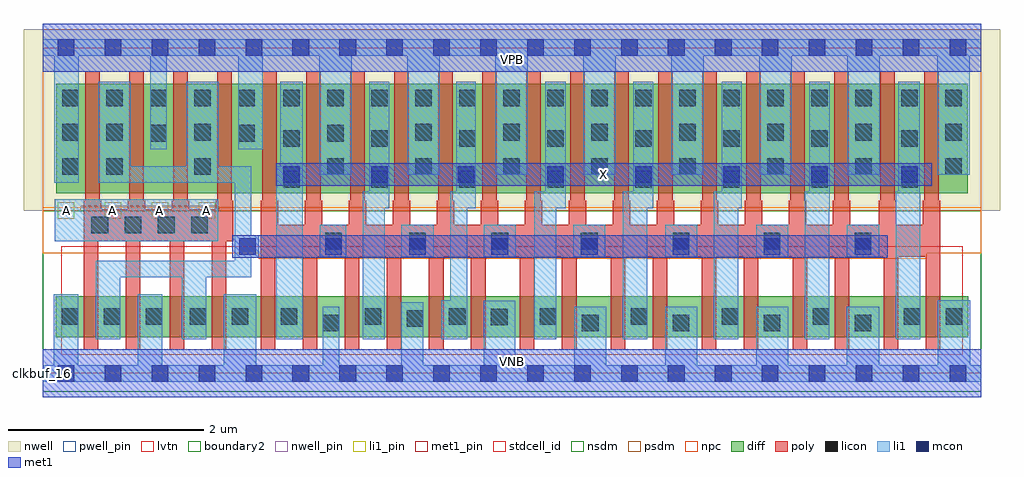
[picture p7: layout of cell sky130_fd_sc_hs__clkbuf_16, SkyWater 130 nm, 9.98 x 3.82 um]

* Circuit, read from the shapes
.subckt sky130_fd_sc_hs__clkbuf_16 A VGND VNB VPB VPWR X
XM1 n1 A VGND VNB sky130_fd_pr__nfet_01v8_lvt w=0.42 l=0.15 m=4
XM2 X n1 VGND VNB sky130_fd_pr__nfet_01v8_lvt w=0.42 l=0.15 m=16
XM3 n1 A VPWR VPB sky130_fd_pr__pfet_01v8 w=1.12 l=0.15 m=4
XM4 X n1 VPWR VPB sky130_fd_pr__pfet_01v8 w=1.12 l=0.15 m=16
.ends

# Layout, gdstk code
import gdstk
lib = gdstk.Library(unit=1e-6, precision=1e-09)
def R(c, l, rs):  # rectangles x0, y0, x1, y1
    for r in rs: c.add(gdstk.rectangle(r[:2], r[2:], *l))
def A(c, l, x, y, w, h, nx, ny, dx, dy):  # array of equal rectangles
    R(c, l, [(x+i*dx, y+j*dy, x+i*dx+w, y+j*dy+h) for i in range(nx) for j in range(ny)])
def P(c, l, *ps):  # polygons
    for p in ps: c.add(gdstk.Polygon(p, *l))
nwell_pin = (64, 16)
nwell = (64, 20)
diff = (65, 20)
poly = (66, 20)
licon = (66, 44)
li1_pin = (67, 16)
li1 = (67, 20)
mcon = (67, 44)
met1_pin = (68, 16)
met1 = (68, 20)
stdcell_id = (81, 4)
nsdm = (93, 44)
psdm = (94, 20)
npc = (95, 20)
pwell_pin = (122, 16)
lvtn = (125, 44)
boundary2 = (236, 0)

sky130_fd_sc_hs__clkbuf_ = lib.new_cell('sky130_fd_sc_hs__clkbuf_16')
R(sky130_fd_sc_hs__clkbuf_, nwell_pin, [(0,3.085,9.6,3.33)])
R(sky130_fd_sc_hs__clkbuf_, nwell, [(-0.19,1.66,9.79,3.52)])
R(sky130_fd_sc_hs__clkbuf_, diff, [(0.135,0.37,9.465,0.79), (0.14,1.84,9.46,2.96)])
P(sky130_fd_sc_hs__clkbuf_, poly, [(9.18,1.765),(9.165,1.765),(9.165,3.09),(9.015,3.09),(9.015,1.765),(9,1.765),(9,1.52),(8.73,1.52),(8.73,1.765),(8.715,1.765),(8.715,3.09),(8.565,3.09),(8.565,1.765),(8.55,1.765),(8.55,1.52),(8.26,1.52),(8.26,1.765),(8.245,1.765),(8.245,3.09),(8.095,3.09),(8.095,1.765),(8.08,1.765),(8.08,1.52),(7.81,1.52),(7.81,1.765),(7.795,1.765),(7.795,3.09),(7.645,3.09),(7.645,1.765),(7.63,1.765),(7.63,1.52),(7.36,1.52),(7.36,1.765),(7.345,1.765),(7.345,3.09),(7.195,3.09),(7.195,1.765),(7.18,1.765),(7.18,1.52),(6.91,1.52),(6.91,1.765),(6.895,1.765),(6.895,3.09),(6.745,3.09),(6.745,1.765),(6.73,1.765),(6.73,1.52),(6.46,1.52),(6.46,1.765),(6.445,1.765),(6.445,3.09),(6.295,3.09),(6.295,1.765),(6.28,1.765),(6.28,1.52),(6.01,1.52),(6.01,1.765),(5.995,1.765),(5.995,3.09),(5.845,3.09),(5.845,1.765),(5.83,1.765),(5.83,1.52),(5.56,1.52),(5.56,1.765),(5.545,1.765),(5.545,3.09),(5.395,3.09),(5.395,1.765),(5.38,1.765),(5.38,1.52),(5.11,1.52),(5.11,1.765),(5.095,1.765),(5.095,3.09),(4.945,3.09),(4.945,1.765),(4.93,1.765),(4.93,1.52),(4.66,1.52),(4.66,1.765),(4.645,1.765),(4.645,3.09),(4.495,3.09),(4.495,1.765),(4.48,1.765),(4.48,1.52),(4.21,1.52),(4.21,1.765),(4.195,1.765),(4.195,3.09),(4.045,3.09),(4.045,1.765),(4.03,1.765),(4.03,1.52),(3.76,1.52),(3.76,1.765),(3.745,1.765),(3.745,3.09),(3.595,3.09),(3.595,1.765),(3.58,1.765),(3.58,1.52),(3.31,1.52),(3.31,1.765),(3.295,1.765),(3.295,3.09),(3.145,3.09),(3.145,1.765),(3.13,1.765),(3.13,1.52),(2.86,1.52),(2.86,1.765),(2.845,1.765),(2.845,3.09),(2.695,3.09),(2.695,1.765),(2.68,1.765),(2.68,1.52),(2.41,1.52),(2.41,1.765),(2.395,1.765),(2.395,3.09),(2.245,3.09),(2.245,1.765),(2.23,1.765),(2.23,0.24),(2.38,0.24),(2.38,1.19),(2.66,1.19),(2.66,0.24),(2.81,0.24),(2.81,1.19),(3.09,1.19),(3.09,0.24),(3.24,0.24),(3.24,1.19),(3.52,1.19),(3.52,0.24),(3.67,0.24),(3.67,1.19),(3.95,1.19),(3.95,0.24),(4.1,0.24),(4.1,1.19),(4.38,1.19),(4.38,0.24),(4.53,0.24),(4.53,1.19),(4.88,1.19),(4.88,0.24),(5.03,0.24),(5.03,1.19),(5.31,1.19),(5.31,0.24),(5.46,0.24),(5.46,1.19),(5.81,1.19),(5.81,0.24),(5.96,0.24),(5.96,1.19),(6.24,1.19),(6.24,0.24),(6.39,0.24),(6.39,1.19),(6.74,1.19),(6.74,0.24),(6.89,0.24),(6.89,1.19),(7.17,1.19),(7.17,0.24),(7.32,0.24),(7.32,1.19),(7.67,1.19),(7.67,0.24),(7.82,0.24),(7.82,1.19),(8.1,1.19),(8.1,0.24),(8.25,0.24),(8.25,1.19),(8.6,1.19),(8.6,0.24),(8.75,0.24),(8.75,1.19),(9.03,1.19),(9.03,0.24),(9.18,0.24)],
  [(1.95,1.765),(1.935,1.765),(1.935,3.09),(1.785,3.09),(1.785,1.765),(1.77,1.765),(1.77,1.68),(1.5,1.68),(1.5,1.765),(1.485,1.765),(1.485,3.09),(1.335,3.09),(1.335,1.765),(1.32,1.765),(1.32,1.68),(1.05,1.68),(1.05,1.765),(1.035,1.765),(1.035,3.09),(0.885,3.09),(0.885,1.765),(0.87,1.765),(0.87,1.68),(0.6,1.68),(0.6,1.765),(0.585,1.765),(0.585,3.09),(0.435,3.09),(0.435,1.765),(0.42,1.765),(0.42,0.24),(0.57,0.24),(0.57,1.35),(0.85,1.35),(0.85,0.24),(1,0.24),(1,1.35),(1.3,1.35),(1.3,0.24),(1.45,0.24),(1.45,1.35),(1.73,1.35),(1.73,0.24),(1.88,0.24),(1.88,1.35),(1.95,1.35)])
A(sky130_fd_sc_hs__clkbuf_, licon, 5.515, 0.43, 0.17, 0.17, 4, 1, 0.93, 0)
A(sky130_fd_sc_hs__clkbuf_, licon, 0.195, 0.495, 0.17, 0.17, 3, 1, 0.43, 0)
A(sky130_fd_sc_hs__clkbuf_, licon, 2.435, 0.495, 0.17, 0.17, 3, 1, 0.86, 0)
A(sky130_fd_sc_hs__clkbuf_, licon, 5.085, 0.495, 0.17, 0.17, 5, 1, 0.93, 0)
A(sky130_fd_sc_hs__clkbuf_, licon, 6.445, 1.27, 0.17, 0.17, 3, 1, 0.93, 0)
A(sky130_fd_sc_hs__clkbuf_, licon, 0.5, 1.43, 0.17, 0.17, 4, 1, 0.34, 0)
A(sky130_fd_sc_hs__clkbuf_, licon, 2.46, 1.9, 0.17, 0.17, 7, 2, 0.9, 0.415)
A(sky130_fd_sc_hs__clkbuf_, licon, 8.78, 1.9, 0.17, 0.17, 1, 3, 0, 0.415)
A(sky130_fd_sc_hs__clkbuf_, licon, 2.91, 2.03, 0.17, 0.17, 7, 1, 0.9, 0)
A(sky130_fd_sc_hs__clkbuf_, licon, 9.23, 2.03, 0.17, 0.17, 1, 3, 0, 0.35)
A(sky130_fd_sc_hs__clkbuf_, licon, 3.81, 2.38, 0.17, 0.17, 6, 1, 0.9, 0)
A(sky130_fd_sc_hs__clkbuf_, licon, 0.2, 2.73, 0.17, 0.17, 5, 1, 0.45, 0)
A(sky130_fd_sc_hs__clkbuf_, licon, 2.46, 2.73, 0.17, 0.17, 14, 1, 0.45, 0)
R(sky130_fd_sc_hs__clkbuf_, licon, [(2.865,0.43,3.035,0.6), (3.725,0.475,3.895,0.645), (4.585,0.49,4.755,0.66), (1.505,0.495,1.675,0.665), (1.935,0.495,2.105,0.665), (9.235,0.495,9.405,0.665), (2.89,1.27,3.06,1.44), (3.75,1.27,3.92,1.44), (4.59,1.27,4.76,1.44), (5.505,1.27,5.675,1.44), (0.2,2.03,0.37,2.2), (0.65,2.03,0.82,2.2), (1.55,2.03,1.72,2.2), (1.1,2.37,1.27,2.54), (2,2.37,2.17,2.54), (2.91,2.37,3.08,2.54), (0.2,2.38,0.37,2.55), (0.65,2.38,0.82,2.55), (1.55,2.38,1.72,2.55)])
A(sky130_fd_sc_hs__clkbuf_, li1_pin, 0.155, 1.58, 0.17, 0.17, 4, 1, 0.48, 0)
A(sky130_fd_sc_hs__clkbuf_, li1, 6.365, 1.19, 0.33, 0.33, 3, 1, 0.93, 0)
R(sky130_fd_sc_hs__clkbuf_, li1, [(2.835,1.19,3.105,1.52), (3.67,1.19,4,1.52), (4.51,1.19,4.84,1.52), (5.425,1.19,5.755,1.52), (0.125,1.35,1.795,1.78)])
P(sky130_fd_sc_hs__clkbuf_, li1, [(3.545,2.98),(3.34,2.98),(3.34,1.86),(3.275,1.86),(3.275,0.35),(3.5,0.35),(3.5,1.69),(3.545,1.69)],
  [(4.43,2.98),(4.23,2.98),(4.23,1.86),(4.17,1.86),(4.17,0.745),(4.075,0.745),(4.075,0.35),(4.34,0.35),(4.34,1.69),(4.43,1.69)],
  [(5.35,2.98),(5.14,2.98),(5.14,1.86),(5.025,1.86),(5.025,0.35),(5.255,0.35),(5.255,1.69),(5.35,1.69)],
  [(6.245,2.98),(6.04,2.98),(6.04,1.86),(5.935,1.86),(5.935,0.35),(6.185,0.35),(6.185,1.69),(6.245,1.69)],
  [(7.15,2.98),(6.945,2.98),(6.945,1.86),(6.865,1.86),(6.865,0.35),(7.115,0.35),(7.115,1.69),(7.15,1.69)],
  [(2.21,1.41),(2.135,1.41),(2.135,2.12),(1.8,2.12),(1.8,2.98),(1.47,2.98),(1.47,2.12),(0.9,2.12),(0.9,2.98),(0.57,2.98),(0.57,1.95),(1.965,1.95),(1.965,1.15),(0.545,1.15),(0.545,0.35),(0.795,0.35),(0.795,0.98),(1.425,0.98),(1.425,0.35),(1.675,0.35),(1.675,0.98),(2.135,0.98),(2.135,1.18),(2.21,1.18)],
  [(2.66,2.98),(2.43,2.98),(2.43,2.12),(2.39,2.12),(2.39,0.35),(2.66,0.35)],
  [(9.6,3.415),(0,3.415),(0,3.245),(0.12,3.245),(0.12,1.95),(0.37,1.95),(0.37,3.245),(1.1,3.245),(1.1,2.29),(1.27,2.29),(1.27,3.245),(2,3.245),(2,2.29),(2.25,2.29),(2.25,3.245),(2.83,3.245),(2.83,2.03),(3.16,2.03),(3.16,3.245),(3.73,3.245),(3.73,2.03),(4.06,2.03),(4.06,3.245),(4.63,3.245),(4.63,2.03),(4.96,2.03),(4.96,3.245),(5.53,3.245),(5.53,2.03),(5.86,2.03),(5.86,3.245),(6.43,3.245),(6.43,2.03),(6.76,2.03),(6.76,3.245),(7.33,3.245),(7.33,2.03),(7.66,2.03),(7.66,3.245),(8.23,3.245),(8.23,2.03),(8.56,2.03),(8.56,3.245),(9.15,3.245),(9.15,2.03),(9.48,2.03),(9.48,3.245),(9.6,3.245)],
  [(8.975,1.83),(8.97,1.83),(8.97,2.98),(8.75,2.98),(8.75,1.86),(8.725,1.86),(8.725,0.35),(8.975,0.35)],
  [(9.6,0.085),(9.485,0.085),(9.485,0.745),(9.155,0.745),(9.155,0.085),(8.555,0.085),(8.555,0.68),(8.225,0.68),(8.225,0.085),(7.625,0.085),(7.625,0.68),(7.295,0.68),(7.295,0.085),(6.695,0.085),(6.695,0.68),(6.365,0.68),(6.365,0.085),(5.765,0.085),(5.765,0.68),(5.435,0.68),(5.435,0.085),(4.835,0.085),(4.835,0.74),(4.51,0.74),(4.51,0.085),(3.895,0.085),(3.895,0.725),(3.67,0.725),(3.67,0.085),(3.035,0.085),(3.035,0.68),(2.865,0.68),(2.865,0.085),(2.185,0.085),(2.185,0.81),(1.855,0.81),(1.855,0.085),(1.225,0.085),(1.225,0.81),(0.975,0.81),(0.975,0.085),(0.365,0.085),(0.365,0.81),(0.115,0.81),(0.115,0.085),(0,0.085),(0,-0.085),(9.6,-0.085)],
  [(8.045,1.69),(8.05,1.69),(8.05,2.98),(7.84,2.98),(7.84,1.86),(7.795,1.86),(7.795,0.35),(8.045,0.35)])
A(sky130_fd_sc_hs__clkbuf_, mcon, 0.155, -0.085, 0.17, 0.17, 20, 2, 0.48, 3.33)
A(sky130_fd_sc_hs__clkbuf_, mcon, 6.445, 1.21, 0.17, 0.17, 3, 1, 0.93, 0)
A(sky130_fd_sc_hs__clkbuf_, mcon, 5.16, 1.95, 0.17, 0.17, 4, 1, 0.9, 0)
R(sky130_fd_sc_hs__clkbuf_, mcon, [(2.01,1.21,2.18,1.38), (2.89,1.21,3.06,1.38), (3.75,1.21,3.92,1.38), (4.59,1.21,4.76,1.38), (5.505,1.21,5.675,1.38), (2.46,1.95,2.63,2.12), (3.36,1.95,3.53,2.12), (4.245,1.95,4.415,2.12), (8.78,1.95,8.95,2.12)])
R(sky130_fd_sc_hs__clkbuf_, met1_pin, [(0,0,9.6,0.245), (2.39,1.92,9.09,2.15), (0,3.085,9.6,3.33)])
R(sky130_fd_sc_hs__clkbuf_, met1, [(0,-0.245,9.6,0.245), (1.94,1.18,8.64,1.41), (2.39,1.92,9.09,2.15), (0,3.085,9.6,3.575)])
R(sky130_fd_sc_hs__clkbuf_, stdcell_id, [(0,0,9.6,3.33)])
R(sky130_fd_sc_hs__clkbuf_, nsdm, [(0,-0.19,9.6,1.66)])
P(sky130_fd_sc_hs__clkbuf_, psdm, [(9.6,3.52),(0,3.52),(0,1.66),(0.39,1.66),(0.39,1.71),(1.8,1.71),(1.8,1.66),(9.6,1.66)])
P(sky130_fd_sc_hs__clkbuf_, npc, [(9.6,1.7),(0,1.7),(0,1.23),(2.21,1.23),(2.21,1.17),(9.04,1.17),(9.04,1.23),(9.6,1.23)])
R(sky130_fd_sc_hs__clkbuf_, pwell_pin, [(0,0,9.6,0.245)])
R(sky130_fd_sc_hs__clkbuf_, lvtn, [(0.19,0.19,9.41,1.3)])
R(sky130_fd_sc_hs__clkbuf_, boundary2, [(0,0,9.6,3.33)])
sky130_fd_sc_hs__clkbuf_.add(gdstk.Label('clkbuf_16', (0,0), layer=83, texttype=44))
sky130_fd_sc_hs__clkbuf_.add(gdstk.Label('VNB', (4.8,0.123), layer=64, texttype=59))
sky130_fd_sc_hs__clkbuf_.add(gdstk.Label('VPB', (4.8,3.208), layer=64, texttype=5))
sky130_fd_sc_hs__clkbuf_.add(gdstk.Label('VPWR', (4.8,3.208), layer=68, texttype=5))
sky130_fd_sc_hs__clkbuf_.add(gdstk.Label('VGND', (4.8,0.123), layer=68, texttype=5))
sky130_fd_sc_hs__clkbuf_.add(gdstk.Label('X', (5.74,2.035), layer=68, texttype=5))
sky130_fd_sc_hs__clkbuf_.add(gdstk.Label('A', (0.24,1.665), layer=67, texttype=5))
sky130_fd_sc_hs__clkbuf_.add(gdstk.Label('A', (0.72,1.665), layer=67, texttype=5))
sky130_fd_sc_hs__clkbuf_.add(gdstk.Label('A', (1.2,1.665), layer=67, texttype=5))
sky130_fd_sc_hs__clkbuf_.add(gdstk.Label('A', (1.68,1.665), layer=67, texttype=5))

lib.write_gds('sky130_fd_sc_hs__clkbuf_16.gds')
